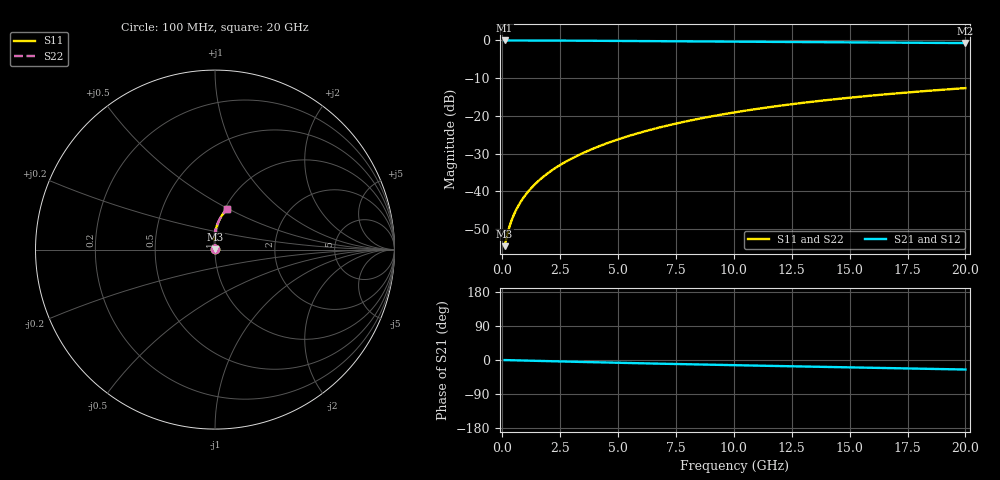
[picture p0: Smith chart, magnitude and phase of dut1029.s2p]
! Touchstone file exported from HFSS 2024.1.0
!  File:  C:/UserFiles/LocalFiles/RDL_TSV_Batchsim/temp_RDL_bottom_1029_1780051077.aedt
!  Generated:  06:40:30 PM May 29, 2026
!  Design:  RDL_bottom
!  Project:  temp_RDL_bottom_1029_1780051077
!  Setup:  Setup1
!  Solution:  Sweep
! Variables:
!  dtsv = 10.80580581um
!  hbump = 3um
!  htsv = 78.4um
!  ldown = 334.22um
!  lrdl = 100um
!  p = 40
!  p1 = 56.56um
!  rhole = 1um
!  t = 450um
!  tdown = 3.05um
!  trdl = 3.915915916um
!  wdown = 29.95um
!  wrdl = 20um
# GHz S MA R 50.000000
! Terminal data exported
! Port[1] = RDL1_T1
! Port[2] = RDL1_T2
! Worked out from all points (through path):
!   200 points, 100 MHz to 20 GHz, reference 50 ohm
!   highest |S21| = -0.01 dB at 100 MHz (marker M1); lowest = -0.7 dB at 20 GHz (marker M2)
!   group delay of S21, straight-line fit = 3.43 ps
!   lowest |S11| = -54.5 dB at 100 MHz (marker M3), VSWR 1.00, Z = 50.2 + j0.101 ohm
!   |S11| at or under -10 dB: start of sweep to end of sweep
!   |S22| runs from -54.5 to -12.6 dB; largest |S21 - S12| = 2.3e-15
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0.1  0.001885 32.2  0.9984 -0.2  0.9984 -0.2  0.001885 32.2
! Gamma 0 0 0 0
! Port Impedance 50 0 50 0
0.2  0.002578 49.3  0.9983 -0.3  0.9983 -0.3  0.002578 49.3
0.3  0.003353 58.3  0.9981 -0.5  0.9981 -0.5  0.003353 58.3
0.4  0.004136 63.8  0.998 -0.6  0.998 -0.6  0.004136 63.8
0.5  0.004922 67.9  0.9979 -0.8  0.9979 -0.8  0.004921 67.9
0.6  0.005713 71.0  0.9978 -0.9  0.9978 -0.9  0.005713 71.0
0.8  0.007325 75.5  0.9975 -1.2  0.9975 -1.2  0.007325 75.5
1.1  0.009813 80.1  0.9971 -1.7  0.9971 -1.7  0.009813 80.1
1.3  0.01152 82.2  0.9967 -2.0  0.9967 -2.0  0.01152 82.2
1.6  0.01413 84.7  0.9962 -2.4  0.9962 -2.4  0.01413 84.7
2.1  0.01865 87.5  0.995 -3.2  0.995 -3.2  0.01865 87.5
2.7  0.02435 89.7  0.9933 -4.1  0.9933 -4.1  0.02435 89.7
3.5  0.03241 91.5  0.9905 -5.2  0.9905 -5.2  0.03241 91.5
4.2  0.03989 92.3  0.9878 -6.2  0.9878 -6.2  0.03989 92.3
5  0.04888 92.7  0.9844 -7.3  0.9844 -7.3  0.04888 92.7
6.8  0.07045 91.9  0.9764 -9.7  0.9764 -9.7  0.07045 92.0
8.4  0.09057 90.3  0.9692 -11.7  0.9692 -11.7  0.09057 90.3
10.1  0.1123 88.0  0.9618 -13.8  0.9618 -13.8  0.1123 88.0
11.7  0.1328 85.7  0.9551 -15.7  0.9551 -15.7  0.1328 85.7
13.4  0.1544 83.2  0.9482 -17.7  0.9482 -17.7  0.1544 83.2
16.7  0.195 78.4  0.935 -21.4  0.935 -21.4  0.195 78.4
20  0.2336 73.8  0.922 -25.1  0.922 -25.1  0.2336 73.8
